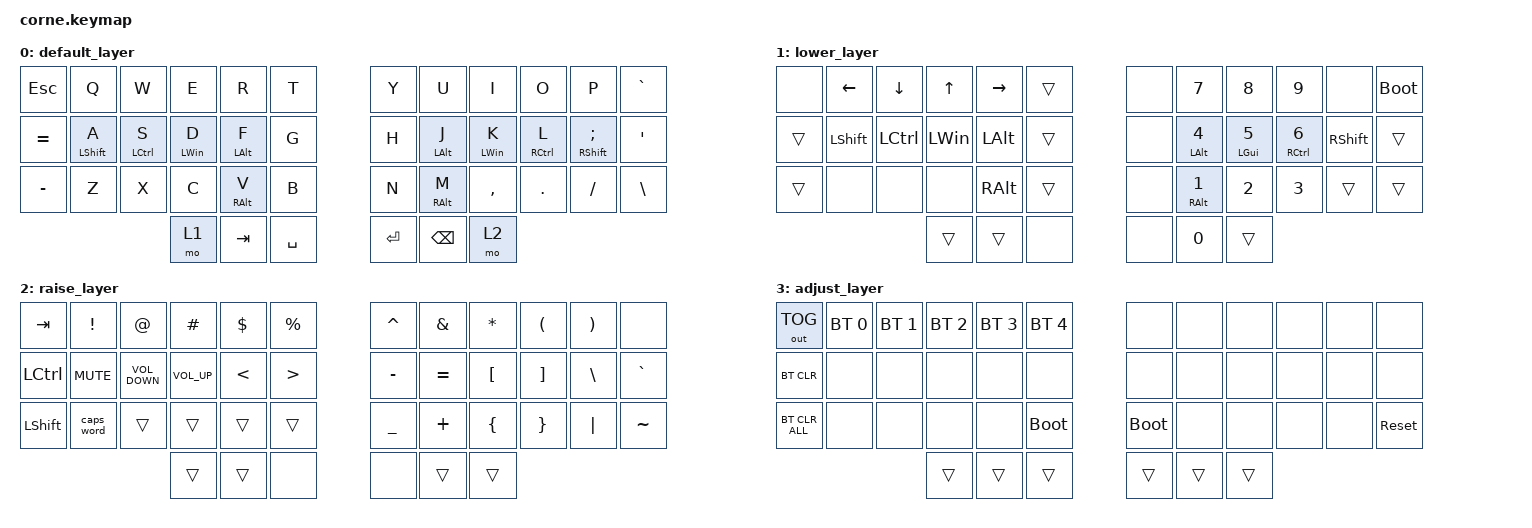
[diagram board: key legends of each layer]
/*
 * Copyright (c) 2020 The ZMK Contributors
 *
 * SPDX-License-Identifier: MIT
 */

#include <behaviors.dtsi>
#include <dt-bindings/zmk/bt.h>
#include <dt-bindings/zmk/keys.h>
#include <dt-bindings/zmk/outputs.h>

/ {
    conditional_layers {
        compatible = "zmk,conditional-layers";

        tri_layer {
            if-layers = <1 2>;
            then-layer = <3>;
        };
    };

    combos {
        compatible = "zmk,combos";

        OpenParenthesis {
            bindings = <&kp LEFT_PARENTHESIS>;
            key-positions = <6 7>;
        };

        OpenBrace {
            bindings = <&kp LEFT_BRACE>;
            key-positions = <18 19>;
        };

        OpenBracket {
            bindings = <&kp LEFT_BRACKET>;
            key-positions = <30 31>;
        };

        CloseParenthasis {
            bindings = <&kp RIGHT_PARENTHESIS>;
            key-positions = <8 7>;
        };

        CloseBrace {
            bindings = <&kp RIGHT_BRACE>;
            key-positions = <19 20>;
        };

        CloseBracket {
            bindings = <&kp RIGHT_BRACKET>;
            key-positions = <31 32>;
        };

        LessThan {
            bindings = <&kp LESS_THAN>;
            key-positions = <3 4>;
        };

        GreatherThan {
            bindings = <&kp GREATER_THAN>;
            key-positions = <4 5>;
        };

        PrintScrn {
            bindings = <&kp PRINTSCREEN>;
            key-positions = <0 1>;
        };

        Delete {
            bindings = <&kp DELETE>;
            key-positions = <37 40>;
        };

        AltF4 {
            bindings = <&kp LA(F4)>;
            key-positions = <0 11>;
        };
    };

    keymap {
        compatible = "zmk,keymap";

        default_layer {
            // -----------------------------------------------------------------------------------------
            // |  TAB |  Q  |  W  |  E  |  R  |  T  |   |  Y  |  U   |  I  |  O  |  P  | BSPC |
            // | SHFT |  A  |  S  |  D  |  F  |  G  |   |  H  |  J   |  K  |  L  |  ;  | ENTR |
            // | CTRL |  Z  |  X  |  C  |  V  |  B  |   |  N  |  M   | ./, | '/" |  /* | EQU |
            //                    | GUI | LWR | SPC |   | SPC | L2   | L1  |

            bindings = <
&kp ESCAPE  &kp Q         &kp W        &kp E           &kp R            &kp T        &kp Y      &kp U            &kp I       &kp O        &kp P                 &kp GRAVE
&kp EQUAL   &mt LSHIFT A  &mt LCTRL S  &mt LEFT_WIN D  &mt LALT F       &kp G        &kp H      &mt LEFT_ALT J   &mt LWIN K  &mt RCTRL L  &mt RSHIFT SEMICOLON  &kp APOSTROPHE
&kp MINUS   &kp Z         &kp X        &kp C           &mt RIGHT_ALT V  &kp B        &kp N      &mt RIGHT_ALT M  &kp COMMA   &kp DOT      &kp SLASH             &kp BACKSLASH
                                       &mo 1           &kp TAB          &kp SPACE    &kp ENTER  &kp BACKSPACE    &mo 2
            >;
        };

        lower_layer {
            // -----------------------------------------------------------------------------------------
            // | BOOT |     |     |     |     |     |   |     |  1  |  2  |  3  |  0  | BOOT |
            // |      |     |     | UP  |     |     |   |     |  4  |  5  |  6  |     |      |
            // |      |     | LFT | DWN | RGT |     |   |     |  7  |  8  |  9  |     |      |
            //                    |     |     | SPC |   | SPC |     |     |

            bindings = <
&none   &kp LEFT    &kp DOWN   &kp UP_ARROW  &kp RIGHT      &trans    &none  &kp NUMBER_7            &kp NUMBER_8       &kp NUMBER_9                &none            &bootloader
&trans  &kp LSHIFT  &kp LCTRL  &kp LWIN      &kp LALT       &trans    &none  &mt LEFT_ALT NUMBER_4   &mt LGUI NUMBER_5  &mt RIGHT_CONTROL NUMBER_6  &kp RIGHT_SHIFT  &trans
&trans  &none       &none      &none         &kp RIGHT_ALT  &trans    &none  &mt RIGHT_ALT NUMBER_1  &kp NUMBER_2       &kp NUMBER_3                &trans           &trans
                               &trans        &trans         &none     &none  &kp NUMBER_0            &trans
            >;
        };

        raise_layer {
            // -----------------------------------------------------------------------------------------
            // |  TAB |  !  |  @  |  #  |  &  |  %  |   |  ^  |  $  |  *  |  (  |  )  | BSPC |
            // | CTRL |MUTE |V_UP |V_DWN|  <  |  >  |   |  -  |  =  |  [  |  ]  |  \  |  `   |
            // | SHFT |     |     |     |     |     |   |  _  |  +  |  {  |  }  | "|" |  ~   |
            //                    | GUI |     | SPC |   | SPC |     |     |

            bindings = <
&kp TAB    &kp EXCL    &kp AT             &kp HASH         &kp DOLLAR     &kp PRCNT           &kp CARET  &kp AMPERSAND  &kp ASTRK  &kp LPAR  &kp RPAR  &none
&kp LCTRL  &kp C_MUTE  &kp C_VOLUME_DOWN  &kp C_VOLUME_UP  &kp LESS_THAN  &kp GREATER_THAN    &kp MINUS  &kp EQUAL      &kp LBKT   &kp RBKT  &kp BSLH  &kp GRAVE
&kp LSHFT  &caps_word  &trans             &trans           &trans         &trans              &kp UNDER  &kp PLUS       &kp LBRC   &kp RBRC  &kp PIPE  &kp TILDE
                                          &trans           &trans         &none               &none      &trans         &trans
            >;
        };

        adjust_layer {
            // -----------------------------------------------------------------------------------------
            // |      | BT 1 | BT 2 | BT 3 | BT 4 | BT 5 |   |     |     |     |     |     |      |
            // |BT_CLR|      |      |      |      |      |   |     |     |     |     |     |BT_CLR|
            // |OUT_TG|CLRALL|      |      |      |      |   |     |     |     |     |     |      |
            //                      |      |      |      |   |     |     |     |

            bindings = <
&out OUT_TOG    &bt BT_SEL 0  &bt BT_SEL 1  &bt BT_SEL 2  &bt BT_SEL 3  &bt BT_SEL 4    &none        &none   &none   &none  &none  &none
&bt BT_CLR      &none         &none         &none         &none         &none           &none        &none   &none   &none  &none  &none
&bt BT_CLR_ALL  &none         &none         &none         &none         &bootloader     &bootloader  &none   &none   &none  &none  &sys_reset
                                            &trans        &trans        &trans          &trans       &trans  &trans
            >;
        };
    };
};
